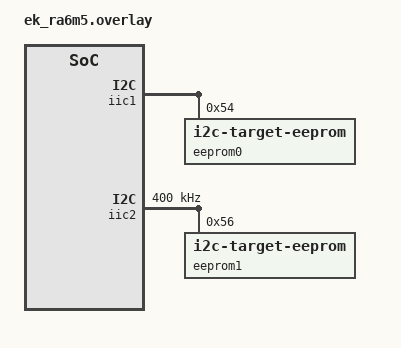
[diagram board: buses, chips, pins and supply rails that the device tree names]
/*
 * Copyright (c) 2025 Renesas Electronics Corporation
 *
 * SPDX-License-Identifier: Apache-2.0
 */

/* To test this sample, connect
 * SCL1 P512  -->  SCL2 P414
 * SDA1 P511  -->  SDA2 P415
 */

&pinctrl {
	iic2_default: iic2_default {
		group1 {
			/* SCL2 SDA2*/
			psels = <RA_PSEL(RA_PSEL_I2C, 4, 14)>,
				<RA_PSEL(RA_PSEL_I2C, 4, 15)>;
			drive-strength = "medium";
		};
	};
};

&iic1 {
	status = "okay";

	eeprom0: eeprom@54 {
		compatible = "zephyr,i2c-target-eeprom";
		address-width = <8>;
		reg = <0x54>;
		size = <256>;
	};
};

&iic2 {
	#address-cells = <1>;
	#size-cells = <0>;
	clock-frequency = <I2C_BITRATE_FAST>;
	pinctrl-0 = <&iic2_default>;
	pinctrl-names = "default";
	interrupts = <84 1>, <85 1>, <86 1>, <87 1>;
	interrupt-names = "rxi", "txi", "tei", "eri";
	status = "okay";

	eeprom1: eeprom@56 {
		compatible = "zephyr,i2c-target-eeprom";
		reg = <0x56>;
		size = <256>;
	};
};
